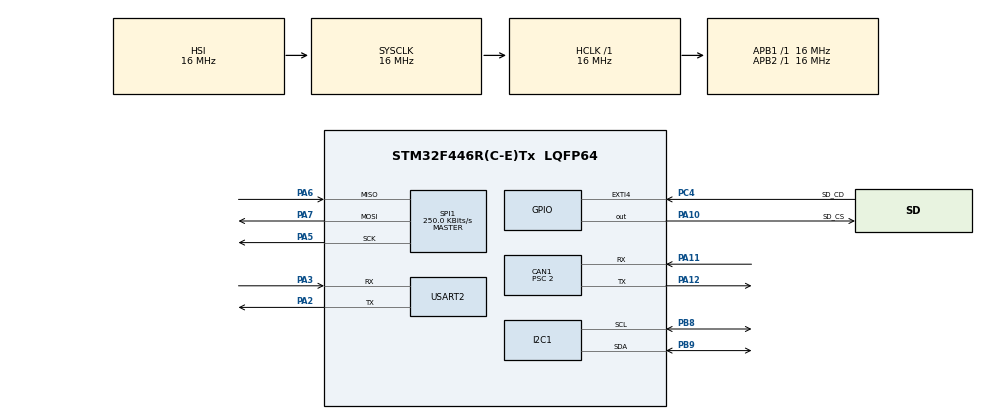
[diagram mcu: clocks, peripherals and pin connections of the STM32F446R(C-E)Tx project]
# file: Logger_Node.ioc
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CAN1.ABOM=ENABLE
CAN1.BS1=CAN_BS1_13TQ
CAN1.BS2=CAN_BS2_2TQ
CAN1.CalculateBaudRate=500000
CAN1.CalculateTimeBit=2000
CAN1.CalculateTimeQuantum=125.0
CAN1.Mode=CAN_MODE_LOOPBACK
CAN1.NART=ENABLE
CAN1.Prescaler=2
FATFS._FS_NORTC=0
FATFS._FS_TINY=0
I2C1.OwnAddress=0x68
Mcu.Family=STM32F4
Mcu.Name=STM32F446R(C-E)Tx
Mcu.Package=LQFP64
NVIC.I2C1_EV_IRQn=true\:0\:0\:false\:false\:true\:true\:true\:true
NVIC.PriorityGroup=NVIC_PRIORITYGROUP_0
PA10.GPIO_Label=SD_CS
PA10.GPIO_Speed=GPIO_SPEED_FREQ_HIGH
PA10.PinState=GPIO_PIN_SET
PA10.Signal=GPIO_Output
PA11.Mode=CAN_Activate
PA11.Signal=CAN1_RX
PA12.Mode=CAN_Activate
PA12.Signal=CAN1_TX
PA2.Mode=Asynchronous
PA2.Signal=USART2_TX
PA3.Mode=Asynchronous
PA3.Signal=USART2_RX
PA5.Mode=Full_Duplex_Master
PA5.Signal=SPI1_SCK
PA6.Mode=Full_Duplex_Master
PA6.Signal=SPI1_MISO
PA7.Mode=Full_Duplex_Master
PA7.Signal=SPI1_MOSI
PB8.Mode=I2C
PB8.Signal=I2C1_SCL
PB9.Mode=I2C
PB9.Signal=I2C1_SDA
PC4.GPIO_Label=SD_CD
PC4.GPIO_ModeDefaultEXTI=GPIO_MODE_IT_RISING_FALLING
PC4.GPIO_PuPd=GPIO_PULLUP
PC4.Signal=GPXTI4
ProjectManager.HeapSize=0x200
ProjectManager.StackSize=0x400
ProjectManager.TargetToolchain=STM32CubeIDE
RCC.AHBFreq_Value=16000000
RCC.APB1Freq_Value=16000000
RCC.APB1TimFreq_Value=16000000
RCC.APB2Freq_Value=16000000
RCC.APB2TimFreq_Value=16000000
RCC.CortexFreq_Value=16000000
RCC.FLatency-AdvancedSettings=FLASH_LATENCY_0
RCC.HCLKFreq_Value=16000000
RCC.HSE_VALUE=8000000
RCC.HSI_VALUE=16000000
RCC.LSE_VALUE=32768
RCC.PLLM=8
RCC.PLLN=64
RCC.SYSCLKFreq_VALUE=16000000
RCC.USBFreq_Value=64000000
RCC.VCOOutputFreq_Value=128000000
SPI1.BaudRatePrescaler=SPI_BAUDRATEPRESCALER_64
SPI1.CalculateBaudRate=250.0 KBits/s
SPI1.Direction=SPI_DIRECTION_2LINES
SPI1.Mode=SPI_MODE_MASTER
SPI1.VirtualType=VM_MASTER
USART2.VirtualMode=VM_ASYNC
VP_FATFS_VS_Generic.Mode=User_defined
board=NUCLEO-F446RE

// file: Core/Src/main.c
/* USER CODE BEGIN Header */
/**
  ******************************************************************************
  * @file           : main.c (Logger Node)
  * @brief          : Main program body
  ******************************************************************************
  * @attention
  *
  * Copyright (c) 2026 STMicroelectronics.
  * All rights reserved.
  *
  * This software is licensed under terms that can be found in the LICENSE file
  * in the root directory of this software component.
  * If no LICENSE file comes with this software, it is provided AS-IS.
  *
  ******************************************************************************
  */
/* USER CODE END Header */
#include "main.h"
#include "fatfs.h"
#include "sd_spi.h"
/* USER CODE BEGIN Includes */
#include <stdio.h>
#include <string.h>
/* USER CODE END Includes */

/* USER CODE BEGIN PD */
#define DS3231_ADDR (0x68 << 1)
FIL log_file;
uint8_t log_file_open = 0;
uint32_t log_row_count = 0;
/* USER CODE END PD */

CAN_HandleTypeDef hcan1;

I2C_HandleTypeDef hi2c1;

SPI_HandleTypeDef hspi1;

UART_HandleTypeDef huart2;

void SystemClock_Config(void);
static void MX_GPIO_Init(void);
static void MX_CAN1_Init(void);
static void MX_I2C1_Init(void);
static void MX_SPI1_Init(void);
static void MX_USART2_UART_Init(void);
/* USER CODE BEGIN PFP */
int CAN_Logger_Init(void);
uint8_t DecToBCD(uint8_t val);
int Init_DS3231(void);
int Read_DS3231(void);
uint8_t BCDToDec(uint8_t val);
int SD_CardInserted(void);
int DS3231_GetTimestamp(char *timestamp);
int Mount_SD_With_Retry(FATFS *fs);
int Log_File_Open(void);
int Log_IMU_Row_Fast(int16_t accel_x, int16_t accel_y, int16_t accel_z, int16_t gyro_x, int16_t gyro_y, int16_t gyro_z);
/* USER CODE END PFP */

int main(void)
{

  /* MCU Configuration--------------------------------------------------------*/

  /* Reset of all peripherals, Initializes the Flash interface and the Systick. */
  HAL_Init();

  /* Configure the system clock */
  SystemClock_Config();

  /* Initialize all configured peripherals */
  MX_GPIO_Init();
  MX_CAN1_Init();
  MX_I2C1_Init();
  MX_SPI1_Init();
  MX_USART2_UART_Init();
  MX_FATFS_Init();
  /* USER CODE BEGIN 2 */
  char bootmsg[] = "\r\n--- LOGGER NODE BOOT ---\r\n";
  HAL_UART_Transmit(&huart2, (uint8_t*)bootmsg, strlen(bootmsg), 100);

  CAN_RxHeaderTypeDef rx_header;
  uint8_t rx_data[8];

  int16_t accel_x = 0;
  int16_t accel_y = 0;
  int16_t accel_z = 0;

  int16_t gyro_x = 0;
  int16_t gyro_y = 0;
  int16_t gyro_z = 0;

  uint8_t accel_received = 0;
  uint8_t gyro_received = 0;
  uint8_t sd_ready = 0;

  if (CAN_Logger_Init() != 0){
  	  char msg[] = "CAN init failed\r\n";
  	  HAL_UART_Transmit(&huart2, (uint8_t*)msg, strlen(msg), 100);}
  else{
  	  char msg[] = "CAN init success\r\n";
  	  HAL_UART_Transmit(&huart2, (uint8_t*)msg, strlen(msg), 100);}

  if (!SD_CardInserted()){
	  char msg[] = "No SD card detected. Logging disabled.\r\n";
	  HAL_UART_Transmit(&huart2, (uint8_t*)msg, strlen(msg), 100);}
  else{
	  char msg[] = "SD card detected\r\n";
  	  HAL_UART_Transmit(&huart2, (uint8_t*)msg, strlen(msg), 100);

  	  static FATFS fs;

  	  if (Mount_SD_With_Retry(&fs) != 0){
  		  char fail[] = "SD mount failed after retry. Logging disabled.\r\n";
  		  HAL_UART_Transmit(&huart2, (uint8_t*)fail, strlen(fail), 100);}
  	  else{
  		  sd_ready = 1;
  		  char ok[] = "SD ready for CAN logging\r\n";
  		  HAL_UART_Transmit(&huart2, (uint8_t*)ok, strlen(ok), 100);

  		  if(Log_File_Open() != 0){
  			  sd_ready = 0;
  			  char fail[] = "LOG.CSV open failed. Logging disabled.\r\n";
  			  HAL_UART_Transmit(&huart2, (uint8_t*)fail, strlen(fail), 100);
  		}
  	  }
    }

  /* USER CODE END 2 */

  /* Infinite loop */
  /* USER CODE BEGIN WHILE */
  while (1)
  {
	  if (HAL_CAN_GetRxFifoFillLevel(&hcan1, CAN_RX_FIFO0) > 0){
		  HAL_CAN_GetRxMessage(&hcan1, CAN_RX_FIFO0, &rx_header, rx_data);

		  if (rx_header.StdId == 0x120 && rx_header.DLC == 8){
			  accel_x = (int16_t)((rx_data[0] << 8) | rx_data[1]);
			  accel_y = (int16_t)((rx_data[2] << 8) | rx_data[3]);
			  accel_z = (int16_t)((rx_data[4] << 8) | rx_data[5]);

			  accel_received = 1;

			  char msg[80];
			  sprintf(msg, "RX ACCEL: %d,%d,%d\r\n", accel_x, accel_y, accel_z);
			  HAL_UART_Transmit(&huart2, (uint8_t*)msg, strlen(msg), 100);}

		  else if (rx_header.StdId == 0x121 && rx_header.DLC == 8){
			  gyro_x = (int16_t)((rx_data[0] << 8) | rx_data[1]);
			  gyro_y = (int16_t)((rx_data[2] << 8) | rx_data[3]);
			  gyro_z = (int16_t)((rx_data[4] << 8) | rx_data[5]);

			  gyro_received = 1;

			  char msg[80];
			  sprintf(msg, "RX GYRO: %d,%d,%d\r\n", gyro_x, gyro_y, gyro_z);
			  HAL_UART_Transmit(&huart2, (uint8_t*)msg, strlen(msg), 100);}
	  	  }

	  	  if (accel_received && gyro_received){
	  		  accel_received = 0;
	  		  gyro_received = 0;

	  		  if (sd_ready){
	  			Log_IMU_Row_Fast(accel_x, accel_y, accel_z, gyro_x, gyro_y, gyro_z);}
	  		  else{
	  			  char msg[] = "CAN sample received but SD not ready\r\n";
	  			  HAL_UART_Transmit(&huart2, (uint8_t*)msg, strlen(msg), 100);}
	  	  }

    /* USER CODE END WHILE */

  }
}

void SystemClock_Config(void)
{
  RCC_OscInitTypeDef RCC_OscInitStruct = {0};
  RCC_ClkInitTypeDef RCC_ClkInitStruct = {0};

  /** Configure the main internal regulator output voltage
  */
  __HAL_RCC_PWR_CLK_ENABLE();
  __HAL_PWR_VOLTAGESCALING_CONFIG(PWR_REGULATOR_VOLTAGE_SCALE3);

  /** Initializes the RCC Oscillators according to the specified parameters
  * in the RCC_OscInitTypeDef structure.
  */
  RCC_OscInitStruct.OscillatorType = RCC_OSCILLATORTYPE_HSI;
  RCC_OscInitStruct.HSIState = RCC_HSI_ON;
  RCC_OscInitStruct.HSICalibrationValue = RCC_HSICALIBRATION_DEFAULT;
  RCC_OscInitStruct.PLL.PLLState = RCC_PLL_NONE;
  if (HAL_RCC_OscConfig(&RCC_OscInitStruct) != HAL_OK)
  {
    Error_Handler();
  }

  /** Initializes the CPU, AHB and APB buses clocks
  */
  RCC_ClkInitStruct.ClockType = RCC_CLOCKTYPE_HCLK|RCC_CLOCKTYPE_SYSCLK
                              |RCC_CLOCKTYPE_PCLK1|RCC_CLOCKTYPE_PCLK2;
  RCC_ClkInitStruct.SYSCLKSource = RCC_SYSCLKSOURCE_HSI;
  RCC_ClkInitStruct.AHBCLKDivider = RCC_SYSCLK_DIV1;
  RCC_ClkInitStruct.APB1CLKDivider = RCC_HCLK_DIV1;
  RCC_ClkInitStruct.APB2CLKDivider = RCC_HCLK_DIV1;

  if (HAL_RCC_ClockConfig(&RCC_ClkInitStruct, FLASH_LATENCY_0) != HAL_OK)
  {
    Error_Handler();
  }
}

static void MX_CAN1_Init(void)
{

  hcan1.Instance = CAN1;
  hcan1.Init.Prescaler = 2;
  hcan1.Init.Mode = CAN_MODE_NORMAL;
  hcan1.Init.SyncJumpWidth = CAN_SJW_1TQ;
  hcan1.Init.TimeSeg1 = CAN_BS1_13TQ;
  hcan1.Init.TimeSeg2 = CAN_BS2_2TQ;
  hcan1.Init.TimeTriggeredMode = DISABLE;
  hcan1.Init.AutoBusOff = ENABLE;
  hcan1.Init.AutoWakeUp = DISABLE;
  hcan1.Init.AutoRetransmission = ENABLE;
  hcan1.Init.ReceiveFifoLocked = DISABLE;
  hcan1.Init.TransmitFifoPriority = DISABLE;
  if (HAL_CAN_Init(&hcan1) != HAL_OK)
  {
    Error_Handler();
  }

}

static void MX_I2C1_Init(void)
{

  hi2c1.Instance = I2C1;
  hi2c1.Init.ClockSpeed = 100000;
  hi2c1.Init.DutyCycle = I2C_DUTYCYCLE_2;
  hi2c1.Init.OwnAddress1 = 208;
  hi2c1.Init.AddressingMode = I2C_ADDRESSINGMODE_7BIT;
  hi2c1.Init.DualAddressMode = I2C_DUALADDRESS_DISABLE;
  hi2c1.Init.OwnAddress2 = 0;
  hi2c1.Init.GeneralCallMode = I2C_GENERALCALL_DISABLE;
  hi2c1.Init.NoStretchMode = I2C_NOSTRETCH_DISABLE;
  if (HAL_I2C_Init(&hi2c1) != HAL_OK)
  {
    Error_Handler();
  }

}

static void MX_SPI1_Init(void)
{

  /* SPI1 parameter configuration*/
  hspi1.Instance = SPI1;
  hspi1.Init.Mode = SPI_MODE_MASTER;
  hspi1.Init.Direction = SPI_DIRECTION_2LINES;
  hspi1.Init.DataSize = SPI_DATASIZE_8BIT;
  hspi1.Init.CLKPolarity = SPI_POLARITY_LOW;
  hspi1.Init.CLKPhase = SPI_PHASE_1EDGE;
  hspi1.Init.NSS = SPI_NSS_SOFT;
  hspi1.Init.BaudRatePrescaler = SPI_BAUDRATEPRESCALER_64;
  hspi1.Init.FirstBit = SPI_FIRSTBIT_MSB;
  hspi1.Init.TIMode = SPI_TIMODE_DISABLE;
  hspi1.Init.CRCCalculation = SPI_CRCCALCULATION_DISABLE;
  hspi1.Init.CRCPolynomial = 10;
  if (HAL_SPI_Init(&hspi1) != HAL_OK)
  {
    Error_Handler();
  }

}

static void MX_USART2_UART_Init(void)
{

  huart2.Instance = USART2;
  huart2.Init.BaudRate = 115200;
  huart2.Init.WordLength = UART_WORDLENGTH_8B;
  huart2.Init.StopBits = UART_STOPBITS_1;
  huart2.Init.Parity = UART_PARITY_NONE;
  huart2.Init.Mode = UART_MODE_TX_RX;
  huart2.Init.HwFlowCtl = UART_HWCONTROL_NONE;
  huart2.Init.OverSampling = UART_OVERSAMPLING_16;
  if (HAL_UART_Init(&huart2) != HAL_OK)
  {
    Error_Handler();
  }

}

static void MX_GPIO_Init(void)
{
  GPIO_InitTypeDef GPIO_InitStruct = {0};

  /* GPIO Ports Clock Enable */
  __HAL_RCC_GPIOA_CLK_ENABLE();
  __HAL_RCC_GPIOC_CLK_ENABLE();
  __HAL_RCC_GPIOB_CLK_ENABLE();

  /*Configure GPIO pin Output Level */
  HAL_GPIO_WritePin(SD_CS_GPIO_Port, SD_CS_Pin, GPIO_PIN_SET);

  /*Configure GPIO pin : SD_CD_Pin */
  GPIO_InitStruct.Pin = SD_CD_Pin;
  GPIO_InitStruct.Mode = GPIO_MODE_IT_RISING_FALLING;
  GPIO_InitStruct.Pull = GPIO_PULLUP;
  HAL_GPIO_Init(SD_CD_GPIO_Port, &GPIO_InitStruct);

  /*Configure GPIO pin : SD_CS_Pin */
  GPIO_InitStruct.Pin = SD_CS_Pin;
  GPIO_InitStruct.Mode = GPIO_MODE_OUTPUT_PP;
  GPIO_InitStruct.Pull = GPIO_NOPULL;
  GPIO_InitStruct.Speed = GPIO_SPEED_FREQ_HIGH;
  HAL_GPIO_Init(SD_CS_GPIO_Port, &GPIO_InitStruct);

}

/* USER CODE BEGIN 4 */

/**
  * @brief configuring init
  * @retval None
  */
int Init_DS3231(void){
	uint8_t sec   = 0;
	uint8_t min   = 44;
	uint8_t hr    = 18;
	uint8_t day   = 6;   // day of week: 1-7
	uint8_t date  = 25;  // day of month: 1-31
	uint8_t month = 7;   // month: 1-12
	uint8_t year  = 26;  // 2026 -> 26

	uint8_t rtc_data[7];

	rtc_data[0] = DecToBCD(sec);    // 0x00 seconds, 00–59
	rtc_data[1] = DecToBCD(min);    // 0x01 minutes, 00–59
	rtc_data[2] = DecToBCD(hr);     // 0x02 hours, 24-hour mode, 00–23
	rtc_data[3] = DecToBCD(day);    // 0x03 day of week, 1–7
	rtc_data[4] = DecToBCD(date);   // 0x04 day of month, 1–31
	rtc_data[5] = DecToBCD(month);  // 0x05 month, 1–12, century bit = 0
	rtc_data[6] = DecToBCD(year);   // 0x06 year, 00–99

	if (HAL_I2C_Mem_Write(&hi2c1, DS3231_ADDR, 0x00, I2C_MEMADD_SIZE_8BIT, rtc_data, 7, 100) != HAL_OK){
		return -1;}

	return 0;
}
/**
  * @brief configuring allow all filter for loop back mode
  * @retval None
  */
int CAN_Logger_Init(void){
    CAN_FilterTypeDef filter = {0};

    filter.FilterActivation = CAN_FILTER_ENABLE;
    filter.FilterBank = 0;
    filter.FilterFIFOAssignment = CAN_FILTER_FIFO0;
    filter.FilterIdHigh = 0;
    filter.FilterIdLow = 0;
    filter.FilterMaskIdHigh = 0;
    filter.FilterMaskIdLow = 0;
    filter.FilterMode = CAN_FILTERMODE_IDMASK;
    filter.FilterScale = CAN_FILTERSCALE_32BIT;
    filter.SlaveStartFilterBank = 14;

    if(HAL_CAN_ConfigFilter(&hcan1, &filter) != HAL_OK){
        return -1;
    }

    if(HAL_CAN_Start(&hcan1) != HAL_OK){
        return -2;
    }

    return 0;
}
/**
 * @brief reading from the RTC
  * @retval None
  */
int Read_DS3231(void){
    uint8_t rtc_data[7];
    char msg[100];

    if (HAL_I2C_Mem_Read(&hi2c1, DS3231_ADDR, 0x00, I2C_MEMADD_SIZE_8BIT, rtc_data, 7, 100) != HAL_OK){
        return -1;}
    uint8_t sec   = BCDToDec(rtc_data[0] & 0x7F);
    uint8_t min   = BCDToDec(rtc_data[1] & 0x7F);
    uint8_t hr    = BCDToDec(rtc_data[2] & 0x3F); // 24-hour mode
    uint8_t day   = BCDToDec(rtc_data[3] & 0x07);
    uint8_t date  = BCDToDec(rtc_data[4] & 0x3F);
    uint8_t month = BCDToDec(rtc_data[5] & 0x1F);
    uint8_t year  = BCDToDec(rtc_data[6]);

    sprintf(msg, "RTC: %02d:%02d:%02d  Date: %02d/%02d/20%02d  Day:%d\r\n", hr, min, sec, date, month, year, day);

    HAL_UART_Transmit(&huart2, (uint8_t*)msg, strlen(msg), 100);

    return 0;
}
/**
  * @brief Switch From Decimal to BCD for DS3231
  * @retval BCD value
  */
uint8_t DecToBCD(uint8_t val){
    return ((val / 10) << 4) | (val % 10);
}
/**
  * @brief Switch From BCD to decimal
  * @retval decimal value
  */
uint8_t BCDToDec(uint8_t val){
    return ((val >> 4) * 10) + (val & 0x0F);
}
/**
  * @brief detects if SD card is in or not
  * @retval boolean yes or no
  */
int SD_CardInserted(void){
	if (HAL_GPIO_ReadPin(SD_CD_GPIO_Port, SD_CD_Pin) == GPIO_PIN_SET){
		return 1;}
	else{
		return 0;}
}
/**
  * @brief writes data in csv format
  * @retval success or fail
  */
int Log_IMU_Row(int16_t accel_x, int16_t accel_y, int16_t accel_z, int16_t gyro_x, int16_t gyro_y, int16_t gyro_z){
	FIL file;
	FRESULT fres;
	UINT bytesWritten;
	char timestamp[25];
	char row[160];
	char msg[80];
	uint32_t time_ms;

	if (DS3231_GetTimestamp(timestamp) != 0){
		char err[] = "RTC timestamp failed\r\n";
		HAL_UART_Transmit(&huart2, (uint8_t*)err, strlen(err), 100);
		return -1;}

	time_ms = HAL_GetTick();

	fres = f_open(&file, "LOG.CSV", FA_OPEN_ALWAYS | FA_WRITE);

	if (fres != FR_OK){
		sprintf(msg, "LOG.CSV open failed: %d\r\n", fres);
		HAL_UART_Transmit(&huart2, (uint8_t*)msg, strlen(msg), 100);
		return -1;}

	if (f_size(&file) == 0){
		char header[] = "timestamp,time_ms,accel_x,accel_y,accel_z,gyro_x,gyro_y,gyro_z,status\r\n";

		fres = f_write(&file, header, strlen(header), &bytesWritten);

		if (fres != FR_OK){
			sprintf(msg, "CSV header write failed: %d\r\n", fres);
			HAL_UART_Transmit(&huart2, (uint8_t*)msg, strlen(msg), 100);
			f_close(&file);
			return -1;}
	}

	f_lseek(&file, f_size(&file));

	sprintf(row, "%s,%lu,%d,%d,%d,%d,%d,%d,OK\r\n",
			timestamp,
			time_ms,
			accel_x,
			accel_y,
			accel_z,
			gyro_x,
			gyro_y,
			gyro_z);

	fres = f_write(&file, row, strlen(row), &bytesWritten);

	if (fres != FR_OK){
		sprintf(msg, "CSV row write failed: %d\r\n", fres);
		HAL_UART_Transmit(&huart2, (uint8_t*)msg, strlen(msg), 100);
		f_close(&file);
		return -1;}

	f_close(&file);

	sprintf(msg, "CSV row written: %u bytes\r\n", bytesWritten);
	HAL_UART_Transmit(&huart2, (uint8_t*)msg, strlen(msg), 100);

	return 0;
}
/**
  * @brief gets time stamp for writing
  * @retval success or fail
  */
int DS3231_GetTimestamp(char *timestamp)
{
	uint8_t rtc_data[7];

	if (HAL_I2C_Mem_Read(&hi2c1, DS3231_ADDR, 0x00, I2C_MEMADD_SIZE_8BIT, rtc_data, 7, 100) != HAL_OK){
		return -1;}

	uint8_t sec   = BCDToDec(rtc_data[0] & 0x7F);
	uint8_t min   = BCDToDec(rtc_data[1] & 0x7F);
	uint8_t hr    = BCDToDec(rtc_data[2] & 0x3F);
	uint8_t date  = BCDToDec(rtc_data[4] & 0x3F);
	uint8_t month = BCDToDec(rtc_data[5] & 0x1F);
	uint8_t year  = BCDToDec(rtc_data[6]);

	sprintf(timestamp, "20%02d-%02d-%02d %02d:%02d:%02d", year, month, date, hr, min, sec);

	return 0;
}
/**
  * @brief retry mount if failed
  * @retval success or fail
  */
int Mount_SD_With_Retry(FATFS *fs){
	FRESULT fres;
	char msg[80];

	fres = f_mount(fs, "", 1);

	if (fres == FR_OK){
		char ok[] = "f_mount success\r\n";
		HAL_UART_Transmit(&huart2, (uint8_t*)ok, strlen(ok), 100);
		return 0;}

	sprintf(msg, "f_mount failed: %d\r\n", fres);
	HAL_UART_Transmit(&huart2, (uint8_t*)msg, strlen(msg), 100);

	char retrymsg[] = "Retrying SD mount...\r\n";
	HAL_UART_Transmit(&huart2, (uint8_t*)retrymsg, strlen(retrymsg), 100);

	f_mount(NULL, "", 0);

	SD_SPI_ResetState();

	HAL_Delay(100);

	fres = f_mount(fs, "", 1);

	if (fres == FR_OK){
		char ok[] = "f_mount success\r\n";
		HAL_UART_Transmit(&huart2, (uint8_t*)ok, strlen(ok), 100);
		return 0;}

	sprintf(msg, "f_mount retry failed: %d\r\n", fres);
	HAL_UART_Transmit(&huart2, (uint8_t*)msg, strlen(msg), 100);

	return -1;
}

int Log_File_Open(void){
    FRESULT fres;
    UINT bytesWritten;
    char msg[80];

    fres = f_open(&log_file, "LOG.CSV", FA_OPEN_ALWAYS | FA_WRITE);

    if(fres != FR_OK){
        sprintf(msg, "LOG.CSV open failed: %d\r\n", fres);
        HAL_UART_Transmit(&huart2, (uint8_t*)msg, strlen(msg), 100);
        return -1;
    }

    if(f_size(&log_file) == 0){
        char header[] = "timestamp,time_ms,accel_x,accel_y,accel_z,gyro_x,gyro_y,gyro_z,status\r\n";

        fres = f_write(&log_file, header, strlen(header), &bytesWritten);

        if(fres != FR_OK){
            sprintf(msg, "CSV header write failed: %d\r\n", fres);
            HAL_UART_Transmit(&huart2, (uint8_t*)msg, strlen(msg), 100);
            f_close(&log_file);
            return -1;
        }

        f_sync(&log_file);
    }

    f_lseek(&log_file, f_size(&log_file));

    log_file_open = 1;
    log_row_count = 0;

    char ok[] = "LOG.CSV open and ready\r\n";
    HAL_UART_Transmit(&huart2, (uint8_t*)ok, strlen(ok), 100);

    return 0;
}

int Log_IMU_Row_Fast(int16_t accel_x, int16_t accel_y, int16_t accel_z, int16_t gyro_x, int16_t gyro_y, int16_t gyro_z){
    FRESULT fres;
    UINT bytesWritten;
    char timestamp[25];
    char row[160];
    char msg[80];
    uint32_t time_ms;

    if(log_file_open == 0){
        return -1;
    }

    if(DS3231_GetTimestamp(timestamp) != 0){
        char err[] = "RTC timestamp failed\r\n";
        HAL_UART_Transmit(&huart2, (uint8_t*)err, strlen(err), 100);
        return -1;
    }

    time_ms = HAL_GetTick();

    sprintf(row, "%s,%lu,%d,%d,%d,%d,%d,%d,OK\r\n",
            timestamp,
            time_ms,
            accel_x,
            accel_y,
            accel_z,
            gyro_x,
            gyro_y,
            gyro_z);

    fres = f_write(&log_file, row, strlen(row), &bytesWritten);

    if(fres != FR_OK){
        sprintf(msg, "CSV row write failed: %d\r\n", fres);
        HAL_UART_Transmit(&huart2, (uint8_t*)msg, strlen(msg), 100);
        return -1;
    }

    log_row_count++;

    if(log_row_count % 10 == 0){
        fres = f_sync(&log_file);

        if(fres != FR_OK){
            sprintf(msg, "CSV sync failed: %d\r\n", fres);
            HAL_UART_Transmit(&huart2, (uint8_t*)msg, strlen(msg), 100);
            return -1;
        }

        sprintf(msg, "CSV synced: %lu rows\r\n", log_row_count);
        HAL_UART_Transmit(&huart2, (uint8_t*)msg, strlen(msg), 100);
    }

    return 0;
}

/* USER CODE END 4 */

void Error_Handler(void)
{
  __disable_irq();
  while (1)
  {
  }
}
